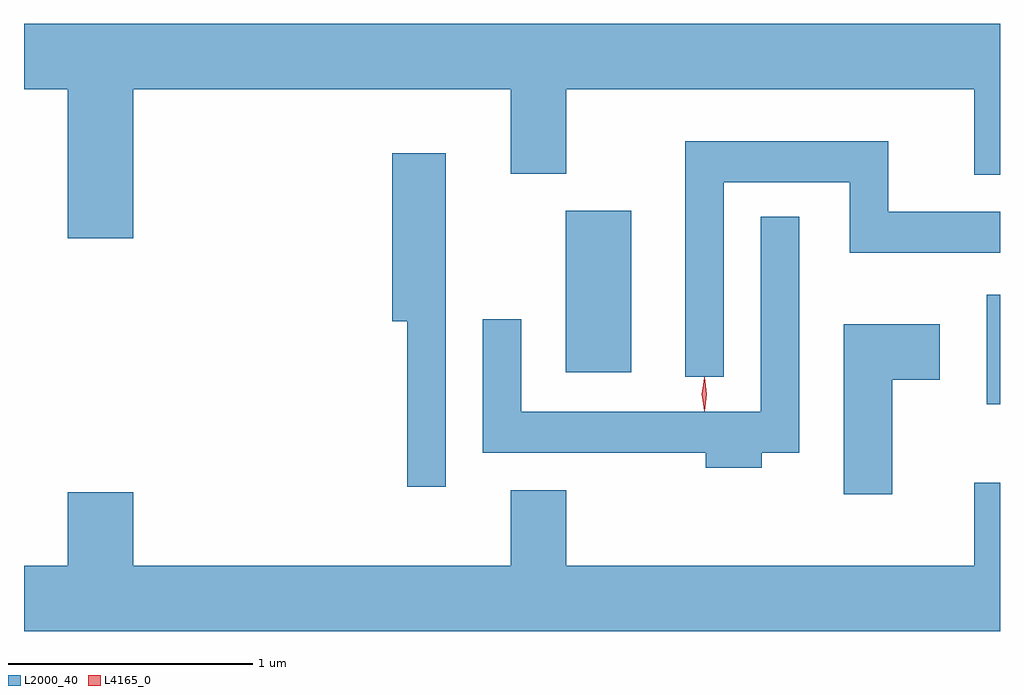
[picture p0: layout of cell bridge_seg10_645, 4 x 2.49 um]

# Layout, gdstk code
import gdstk
lib = gdstk.Library(unit=1e-6, precision=1e-09)
def R(c, l, rs):  # rectangles x0, y0, x1, y1
    for r in rs: c.add(gdstk.rectangle(r[:2], r[2:], *l))
def P(c, l, *ps):  # polygons
    for p in ps: c.add(gdstk.Polygon(p, *l))
L2000_40 = (2000, 40)
L4165_0 = (4165, 0)

bridge_seg10_645 = lib.new_cell('bridge_seg10_645')
R(bridge_seg10_645, L2000_40, [(858.201,2143.706,858.256,2144.154), (856.476,2143.836,856.744,2144.499)])
P(bridge_seg10_645, L2000_40, [(854.704,2144.996),(856.251,2144.996),(856.251,2144.651),(856.479,2144.651),(856.479,2144.996),(858.151,2144.996),(858.151,2144.646),(858.256,2144.646),(858.256,2145.264),(854.256,2145.264),(854.256,2144.996),(854.436,2144.996),(854.436,2144.386),(854.704,2144.386)],
  [(857.124,2144.616),(857.641,2144.616),(857.641,2144.326),(858.256,2144.326),(858.256,2144.494),(857.799,2144.494),(857.799,2144.784),(856.966,2144.784),(856.966,2143.818),(857.124,2143.818)],
  [(855.984,2144.734),(855.766,2144.734),(855.766,2144.046),(855.826,2144.046),(855.826,2143.368),(855.984,2143.368)],
  [(857.279,2143.506),(857.434,2143.506),(857.434,2144.473),(857.276,2144.473),(857.276,2143.674),(856.294,2143.674),(856.294,2144.053),(856.136,2144.053),(856.136,2143.506),(857.051,2143.506),(857.051,2143.446),(857.279,2143.446)],
  [(857.814,2143.806),(858.009,2143.806),(858.009,2144.034),(857.616,2144.034),(857.616,2143.336),(857.814,2143.336)],
  [(858.256,2143.384),(858.151,2143.384),(858.151,2143.044),(856.479,2143.044),(856.479,2143.354),(856.251,2143.354),(856.251,2143.044),(854.704,2143.044),(854.704,2143.344),(854.436,2143.344),(854.436,2143.044),(854.256,2143.044),(854.256,2142.776),(858.256,2142.776)])
P(bridge_seg10_645, L4165_0, [(857.044,2143.679),(857.043,2143.68),(857.034,2143.746),(857.043,2143.812),(857.044,2143.813),(857.044,2143.812),(857.054,2143.746),(857.044,2143.68)],
  [(857.044,2143.677),(857.035,2143.746),(857.044,2143.816),(857.045,2143.816),(857.046,2143.816),(857.055,2143.746),(857.046,2143.677),(857.045,2143.677)])

lib.write_gds('bridge_seg10_645.gds')
